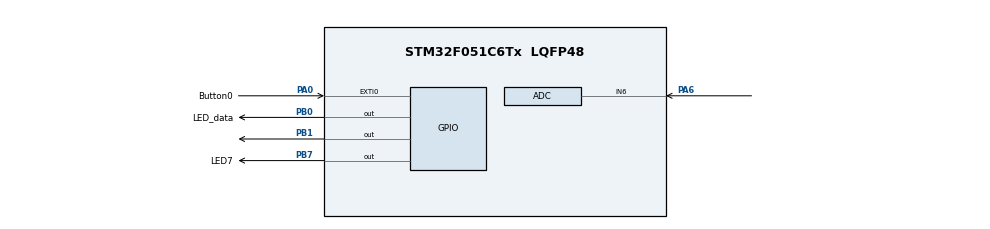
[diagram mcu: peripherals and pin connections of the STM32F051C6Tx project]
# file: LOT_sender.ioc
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ADC.Resolution=ADC_RESOLUTION_12B
Mcu.Family=STM32F0
Mcu.Name=STM32F051C6Tx
Mcu.Package=LQFP48
PA0.GPIO_Label=Button0
PA0.GPIO_PuPd=GPIO_PULLUP
PA0.Signal=GPXTI0
PA13.Mode=Serial_Wire
PA13.Signal=SYS_SWDIO
PA14.Mode=Serial_Wire
PA14.Signal=SYS_SWCLK
PA6.Mode=IN6
PA6.Signal=ADC_IN6
PB0.GPIO_Label=LED_data
PB0.Signal=GPIO_Output
PB1.Signal=GPIO_Output
PB7.GPIO_Label=LED7
PB7.Signal=GPIO_Output
PF0-OSC_IN.Mode=HSE-External-Oscillator
PF0-OSC_IN.Signal=RCC_OSC_IN
PF1-OSC_OUT.Mode=HSE-External-Oscillator
PF1-OSC_OUT.Signal=RCC_OSC_OUT
ProjectManager.HeapSize=0x200
ProjectManager.StackSize=0x400
ProjectManager.TargetToolchain=STM32CubeIDE
TIM16.AutoReloadPreload=TIM_AUTORELOAD_PRELOAD_ENABLE
TIM16.Period=1000-1
TIM16.Prescaler=8000-1
TIM3.Period=47999
VP_TIM16_VS_ClockSourceINT.Mode=Enable_Timer
VP_TIM3_VS_ClockSourceINT.Mode=Internal
board=custom

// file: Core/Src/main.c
/* USER CODE BEGIN Header */
/**
 ******************************************************************************
 * @file           : main.c
 * @brief          : Main program body
 ******************************************************************************
 * @attention
 *
 * Copyright (c) 2023 STMicroelectronics.
 * All rights reserved.
 *
 * This software is licensed under terms that can be found in the LICENSE file
 * in the root directory of this software component.
 * If no LICENSE file comes with this software, it is provided AS-IS.
 *
 ******************************************************************************
 */
/* USER CODE END Header */
#include "main.h"

/* USER CODE BEGIN Includes */
#include <stdio.h>
#include <lcd_stm32f0.c>
#include "stm32f0xx.h"
/* USER CODE END Includes */

/* USER CODE BEGIN PTD */
typedef struct {
	uint16_t full_data;
	uint16_t data_remaining;  // Data that's
	uint16_t bits_left;		  // number of bits left
} DataStruct;

enum state_t { IDLE,
			   SENDING,
			   DONE } current_state;
enum mode_t { TRANSMISSION,
			  VERIFICATION } current_mode;
/* USER CODE END PTD */

ADC_HandleTypeDef hadc;

TIM_HandleTypeDef htim3;
TIM_HandleTypeDef htim16;

/* USER CODE BEGIN PV */
uint32_t prev_millis;
uint32_t curr_millis;
uint32_t delay_t = 500;	 // Initialise delay to 500ms
uint16_t adc_val;
DataStruct data;
uint8_t totalBits;
uint8_t delayT = 3;
uint8_t transmittionStarted = 0;
uint32_t num_samples;
uint8_t numBits;
/* USER CODE END PV */

void SystemClock_Config(void);
static void MX_GPIO_Init(void);
static void MX_ADC_Init(void);
static void MX_TIM3_Init(void);
static void MX_TIM16_Init(void);

/* USER CODE BEGIN PFP */
void TIM16_IRQHandler(void);
void EXTI0_1_IRQHandler(void);
void EXTI2_3_IRQHandler(void);
uint8_t getBit(DataStruct* d);
uint32_t pollADC(void);
void sampleADC(void);
void displayLCD(void);
/* USER CODE END PFP */

int main(void) {
	/* USER CODE BEGIN 1 */
	current_state = IDLE;
	totalBits = 18;

	/* USER CODE END 1 */

	/* MCU Configuration--------------------------------------------------------*/

	/* Reset of all peripherals, Initializes the Flash interface and the Systick. */
	HAL_Init();

	/* Configure the system clock */
	SystemClock_Config();

	/* Initialize all configured peripherals */
	MX_GPIO_Init();
	MX_ADC_Init();
	MX_TIM3_Init();
	MX_TIM16_Init();
	/* USER CODE BEGIN 2 */
	init_LCD();
	HAL_GPIO_WritePin(LED_data_GPIO_Port, LED_data_Pin, 1);

	/* USER CODE END 2 */

	/* Infinite loop */
	/* USER CODE BEGIN WHILE */
	while (1) {
		sampleADC();
		displayLCD();

		// Wait for delay ms
		HAL_Delay(delay_t);
		/* USER CODE END WHILE */
	}
}

/* USER CODE BEGIN 4 */

/*
 * This function calculates the value of the decValue represented in base radValue as a
 * char array.
 */
char* Dec2RadixI(int decValue, int radValue, char* output_string) {
	// When decValue is zero, it returns "0" because 0 is 0 in any radix
	if (!decValue) {
		// char* output_string = malloc(2);
		output_string[0] = '0';	 // "0"
		output_string[1] = 0;	 // '\0'
		return output_string;
	}

	const char characters[] = "0123456789ABCDEF";  // The characters used in representing the bases

	output_string += 16;  // go to the end of the array
	*output_string = 0;	  // put a null terminator at the end of the array

	while (decValue) {
		--output_string;								   // go one byte back
		*output_string = characters[decValue % radValue];  // put the remainder of decValue/radValue in the position
		decValue /= radValue;							   // divide decValue by radValue
	}

	return output_string;
}

/**
 * @brief This function handles the LCD display for different states of the program
 *
 */
void displayLCD() {
	char value[17];
	lcd_command(CLEAR);
	switch (current_state) {
		case IDLE:
			sprintf(value, "ADC: %lu", adc_val);
			lcd_putstring(value);
			lcd_command(LINE_TWO);
			sprintf(value, "samples: %lu", num_samples);
			lcd_putstring(value);
			break;

		case SENDING:
			sprintf(value, "Sending: %lu", data.full_data);
			// sprintf(value, "################");
			// Dec2RadixI(data.full_data, 2, value);
			lcd_putstring(value);
			lcd_command(LINE_TWO);
			sprintf(value, "################");
			Dec2RadixI(data.data_remaining, 2, value);
			lcd_putstring(value);
			break;
		case DONE:
			sprintf(value, "sent %lu", data.full_data);
			// sprintf(value, "################");
			Dec2RadixI(data.full_data, 2, value);
			lcd_putstring(value);
			lcd_command(LINE_TWO);
			sprintf(value, "samples: %lu", num_samples);
			lcd_putstring(value);
			break;
		default:
			break;
	}
}

void EXTI2_3_IRQHandler(void) {
	switch (current_state) {
		case IDLE:
			current_mode = VERIFICATION;
			data.full_data = num_samples;
			totalBits = 10;
			data.bits_left = 8;
			data.data_remaining = data.full_data;
			current_state = SENDING;
			HAL_TIM_Base_Start_IT(&htim16);	 // Start the timer
			break;
		case DONE:
			data.full_data = 0;
			data.bits_left = 0;
			data.data_remaining = 0;
			current_state = IDLE;
			totalBits = 18;
			break;
		default:
			break;
	}
	HAL_GPIO_EXTI_IRQHandler(Button2_Pin);	// Clear interrupt flags
}

/**
 * @brief Runs when sw0 is clicked.
 *
 */
void EXTI0_1_IRQHandler(void) {
	// debounce step
	curr_millis = HAL_GetTick();
	if (curr_millis - prev_millis < 100) {
		HAL_GPIO_EXTI_IRQHandler(Button0_Pin);	// Clear interrupt flags
		return;
	}
	prev_millis = HAL_GetTick();

	// todo: Start data transmission when this is clicked
	switch (current_state) {
		case IDLE:
			current_mode = TRANSMISSION;
			data.full_data = adc_val;
			data.bits_left = 16;
			data.data_remaining = data.full_data;
			current_state = SENDING;
			HAL_TIM_Base_Start_IT(&htim16);	 // Start the timer
			break;
		case DONE:
			data.full_data = 0;
			data.bits_left = 0;
			data.data_remaining = 0;
			current_state = IDLE;
			totalBits = 18;
			break;
		default:
			break;
	}

	HAL_GPIO_EXTI_IRQHandler(Button0_Pin);	// Clear interrupt flags
}

/**
 * @brief Read in the value of the ADC
 *
 * @return uint32_t the integer value of the ADC
 */
uint32_t pollADC(void) {
	HAL_ADC_Start(&hadc);					 // Start sampling
	uint32_t val = HAL_ADC_GetValue(&hadc);	 // Get ADC value
	HAL_ADC_Stop(&hadc);					 // Stop sampling
	return val;
}

/**
 * @brief transmits a bit every tick
 *
 */
void TIM16_IRQHandler(void) {
	if (current_mode == VERIFICATION) {
		switch (totalBits) {
			case 8:
				HAL_GPIO_WritePin(LED_data_GPIO_Port, LED_data_Pin, 0);
				totalBits--;
				break;
			case 1:
				HAL_GPIO_WritePin(LED_data_GPIO_Port, LED_data_Pin, 0);
				totalBits--;
				break;
			case 0:
				HAL_GPIO_WritePin(LED_data_GPIO_Port, LED_data_Pin, 1);
				current_state = DONE;
				num_samples++;
				HAL_TIM_Base_Stop_IT(&htim16);
				break;
			default:
				HAL_GPIO_WritePin(LED_data_GPIO_Port, LED_data_Pin, getBit(&data));
				totalBits--;
				break;
		}
	} else {
		switch (totalBits) {
			case 18:
				HAL_GPIO_WritePin(LED_data_GPIO_Port, LED_data_Pin, 0);
				totalBits--;
				break;
			case 1:
				HAL_GPIO_WritePin(LED_data_GPIO_Port, LED_data_Pin, 0);
				totalBits--;
				break;
			case 0:
				HAL_GPIO_WritePin(LED_data_GPIO_Port, LED_data_Pin, 1);
				current_state = DONE;
				num_samples++;
				HAL_TIM_Base_Stop_IT(&htim16);
				break;
			default:
				HAL_GPIO_WritePin(LED_data_GPIO_Port, LED_data_Pin, getBit(&data));
				totalBits--;
				break;
		}
		HAL_TIM_IRQHandler(&htim16);
	}
}

/**
 * @brief Updates the value of adc_val
 *
 */
void sampleADC() {
	adc_val = pollADC();  // Get the value of the ADC
}

/**
 * @brief Remove the least significant bit from the data until there are no more bits left.
 *
 * @return uint8_t the bit that was read
 */
uint8_t getBit(DataStruct* d) {
	if (d->bits_left > 0) {
		uint8_t bit_out = d->data_remaining % 2;
		d->bits_left--;
		d->data_remaining /= 2;
		return bit_out;
	}
	return 0;
}

/**
 * @brief System Clock Configuration
 * @retval None
 */
void SystemClock_Config(void) {
	LL_FLASH_SetLatency(LL_FLASH_LATENCY_0);
	while (LL_FLASH_GetLatency() != LL_FLASH_LATENCY_0) {
	}
	LL_RCC_HSI_Enable();

	/* Wait till HSI is ready */
	while (LL_RCC_HSI_IsReady() != 1) {
	}
	LL_RCC_HSI_SetCalibTrimming(16);
	LL_RCC_HSI14_Enable();

	/* Wait till HSI14 is ready */
	while (LL_RCC_HSI14_IsReady() != 1) {
	}
	LL_RCC_HSI14_SetCalibTrimming(16);
	LL_RCC_SetAHBPrescaler(LL_RCC_SYSCLK_DIV_1);
	LL_RCC_SetAPB1Prescaler(LL_RCC_APB1_DIV_1);
	LL_RCC_SetSysClkSource(LL_RCC_SYS_CLKSOURCE_HSI);

	/* Wait till System clock is ready */
	while (LL_RCC_GetSysClkSource() != LL_RCC_SYS_CLKSOURCE_STATUS_HSI) {
	}
	LL_SetSystemCoreClock(8000000);

	/* Update the time base */
	if (HAL_InitTick(TICK_INT_PRIORITY) != HAL_OK) {
		Error_Handler();
	}
	LL_RCC_HSI14_EnableADCControl();
}

/**
 * @brief ADC Initialization Function
 * @param None
 * @retval None
 */
static void MX_ADC_Init(void) {
	/* USER CODE BEGIN ADC_Init 0 */
	/* USER CODE END ADC_Init 0 */

	ADC_ChannelConfTypeDef sConfig = {0};

	/* USER CODE BEGIN ADC_Init 1 */

	/* USER CODE END ADC_Init 1 */

	/** Configure the global features of the ADC (Clock, Resolution, Data Alignment and number of conversion)
	 */
	hadc.Instance = ADC1;
	hadc.Init.ClockPrescaler = ADC_CLOCK_ASYNC_DIV1;
	hadc.Init.Resolution = ADC_RESOLUTION_12B;
	hadc.Init.DataAlign = ADC_DATAALIGN_RIGHT;
	hadc.Init.ScanConvMode = ADC_SCAN_DIRECTION_FORWARD;
	hadc.Init.EOCSelection = ADC_EOC_SINGLE_CONV;
	hadc.Init.LowPowerAutoWait = DISABLE;
	hadc.Init.LowPowerAutoPowerOff = DISABLE;
	hadc.Init.ContinuousConvMode = DISABLE;
	hadc.Init.DiscontinuousConvMode = DISABLE;
	hadc.Init.ExternalTrigConv = ADC_SOFTWARE_START;
	hadc.Init.ExternalTrigConvEdge = ADC_EXTERNALTRIGCONVEDGE_NONE;
	hadc.Init.DMAContinuousRequests = DISABLE;
	hadc.Init.Overrun = ADC_OVR_DATA_PRESERVED;
	if (HAL_ADC_Init(&hadc) != HAL_OK) {
		Error_Handler();
	}

	/** Configure for the selected ADC regular channel to be converted.
	 */
	sConfig.Channel = ADC_CHANNEL_6;
	sConfig.Rank = ADC_RANK_CHANNEL_NUMBER;
	sConfig.SamplingTime = ADC_SAMPLETIME_1CYCLE_5;
	if (HAL_ADC_ConfigChannel(&hadc, &sConfig) != HAL_OK) {
		Error_Handler();
	}
	/* USER CODE BEGIN ADC_Init 2 */
	ADC1->CR |= ADC_CR_ADCAL;
	while (ADC1->CR & ADC_CR_ADCAL)
		;				   // Calibrate the ADC
	ADC1->CR |= (1 << 0);  // Enable ADC
	while ((ADC1->ISR & (1 << 0)) == 0)
		;  // Wait for ADC ready
		   /* USER CODE END ADC_Init 2 */
}

/**
 * @brief TIM3 Initialization Function
 * @param None
 * @retval None
 */
static void MX_TIM3_Init(void) {
	/* USER CODE BEGIN TIM3_Init 0 */

	/* USER CODE END TIM3_Init 0 */

	TIM_ClockConfigTypeDef sClockSourceConfig = {0};
	TIM_MasterConfigTypeDef sMasterConfig = {0};

	/* USER CODE BEGIN TIM3_Init 1 */

	/* USER CODE END TIM3_Init 1 */
	htim3.Instance = TIM3;
	htim3.Init.Prescaler = 0;
	htim3.Init.CounterMode = TIM_COUNTERMODE_UP;
	htim3.Init.Period = 47999;
	htim3.Init.ClockDivision = TIM_CLOCKDIVISION_DIV1;
	htim3.Init.AutoReloadPreload = TIM_AUTORELOAD_PRELOAD_DISABLE;
	if (HAL_TIM_Base_Init(&htim3) != HAL_OK) {
		Error_Handler();
	}
	sClockSourceConfig.ClockSource = TIM_CLOCKSOURCE_INTERNAL;
	if (HAL_TIM_ConfigClockSource(&htim3, &sClockSourceConfig) != HAL_OK) {
		Error_Handler();
	}
	sMasterConfig.MasterOutputTrigger = TIM_TRGO_RESET;
	sMasterConfig.MasterSlaveMode = TIM_MASTERSLAVEMODE_DISABLE;
	if (HAL_TIMEx_MasterConfigSynchronization(&htim3, &sMasterConfig) != HAL_OK) {
		Error_Handler();
	}
	/* USER CODE BEGIN TIM3_Init 2 */

	/* USER CODE END TIM3_Init 2 */
}

/**
 * @brief TIM16 Initialization Function
 * @param None
 * @retval None
 */
static void MX_TIM16_Init(void) {
	/* USER CODE BEGIN TIM16_Init 0 */

	/* USER CODE END TIM16_Init 0 */

	/* USER CODE BEGIN TIM16_Init 1 */

	/* USER CODE END TIM16_Init 1 */
	htim16.Instance = TIM16;
	htim16.Init.Prescaler = 8000 - 1;
	htim16.Init.CounterMode = TIM_COUNTERMODE_UP;
	htim16.Init.Period = 1000 - 1;
	htim16.Init.ClockDivision = TIM_CLOCKDIVISION_DIV1;
	htim16.Init.RepetitionCounter = 0;
	htim16.Init.AutoReloadPreload = TIM_AUTORELOAD_PRELOAD_ENABLE;
	if (HAL_TIM_Base_Init(&htim16) != HAL_OK) {
		Error_Handler();
	}
	/* USER CODE BEGIN TIM16_Init 2 */
	// NVIC_EnableIRQ(TIM16_IRQn);
	HAL_NVIC_SetPriority(TIM16_IRQn, 0, 0);
	HAL_NVIC_EnableIRQ(TIM16_IRQn);
	/* USER CODE END TIM16_Init 2 */
}

/**
 * @brief GPIO Initialization Function
 * @param None
 * @retval None
 */
static void MX_GPIO_Init(void) {
	LL_EXTI_InitTypeDef EXTI_InitStruct = {0};
	LL_GPIO_InitTypeDef GPIO_InitStruct = {0};
	/* USER CODE BEGIN MX_GPIO_Init_1 */
	/* USER CODE END MX_GPIO_Init_1 */

	/* GPIO Ports Clock Enable */
	LL_AHB1_GRP1_EnableClock(LL_AHB1_GRP1_PERIPH_GPIOF);
	LL_AHB1_GRP1_EnableClock(LL_AHB1_GRP1_PERIPH_GPIOA);
	LL_AHB1_GRP1_EnableClock(LL_AHB1_GRP1_PERIPH_GPIOB);

	/**/
	LL_GPIO_ResetOutputPin(LED_data_GPIO_Port, LED_data_Pin);

	/**/
	LL_GPIO_ResetOutputPin(LED7_GPIO_Port, LED7_Pin);

	/**/
	LL_SYSCFG_SetEXTISource(LL_SYSCFG_EXTI_PORTA, LL_SYSCFG_EXTI_LINE0);

	/**/
	LL_GPIO_SetPinPull(Button0_GPIO_Port, Button0_Pin, LL_GPIO_PULL_UP);

	/**/
	LL_GPIO_SetPinMode(Button0_GPIO_Port, Button0_Pin, LL_GPIO_MODE_INPUT);

	/**/
	LL_GPIO_SetPinPull(Button2_GPIO_Port, Button2_Pin, LL_GPIO_PULL_UP);

	/**/
	LL_GPIO_SetPinMode(Button2_GPIO_Port, Button2_Pin, LL_GPIO_MODE_INPUT);

	/**/
	EXTI_InitStruct.Line_0_31 = LL_EXTI_LINE_0;
	EXTI_InitStruct.LineCommand = ENABLE;
	EXTI_InitStruct.Mode = LL_EXTI_MODE_IT;
	EXTI_InitStruct.Trigger = LL_EXTI_TRIGGER_RISING;
	LL_EXTI_Init(&EXTI_InitStruct);

	/**/
	EXTI_InitStruct.Line_0_31 = LL_EXTI_LINE_2;
	EXTI_InitStruct.LineCommand = ENABLE;
	EXTI_InitStruct.Mode = LL_EXTI_MODE_IT;
	EXTI_InitStruct.Trigger = LL_EXTI_TRIGGER_RISING;
	LL_EXTI_Init(&EXTI_InitStruct);

	/**/
	GPIO_InitStruct.Pin = LED_data_Pin;
	GPIO_InitStruct.Mode = LL_GPIO_MODE_OUTPUT;
	GPIO_InitStruct.Speed = LL_GPIO_SPEED_FREQ_LOW;
	GPIO_InitStruct.OutputType = LL_GPIO_OUTPUT_PUSHPULL;
	GPIO_InitStruct.Pull = LL_GPIO_PULL_NO;
	LL_GPIO_Init(LED_data_GPIO_Port, &GPIO_InitStruct);

	/**/
	GPIO_InitStruct.Pin = LED7_Pin;
	GPIO_InitStruct.Mode = LL_GPIO_MODE_OUTPUT;
	GPIO_InitStruct.Speed = LL_GPIO_SPEED_FREQ_LOW;
	GPIO_InitStruct.OutputType = LL_GPIO_OUTPUT_PUSHPULL;
	GPIO_InitStruct.Pull = LL_GPIO_PULL_NO;
	LL_GPIO_Init(LED7_GPIO_Port, &GPIO_InitStruct);

	/* USER CODE BEGIN MX_GPIO_Init_2 */
	HAL_NVIC_SetPriority(EXTI0_1_IRQn, 0, 0);
	HAL_NVIC_EnableIRQ(EXTI0_1_IRQn);
	HAL_NVIC_SetPriority(EXTI2_3_IRQn, 0, 0);
	HAL_NVIC_EnableIRQ(EXTI2_3_IRQn);
	/* USER CODE END MX_GPIO_Init_2 */
}

void ADC1_COMP_IRQHandler(void) {
	adc_val = HAL_ADC_GetValue(&hadc);	// read adc value
	HAL_ADC_IRQHandler(&hadc);			// Clear flags
}
/* USER CODE END 4 */

void Error_Handler(void) {
	__disable_irq();
	while (1) {
	}
}
